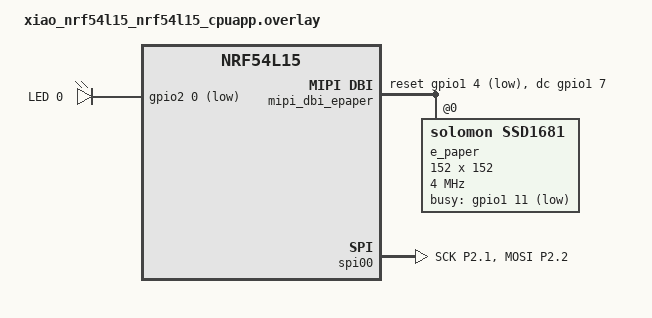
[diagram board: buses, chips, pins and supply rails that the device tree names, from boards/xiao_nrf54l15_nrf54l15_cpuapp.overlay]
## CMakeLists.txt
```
# SPDX-License-Identifier: Apache-2.0
cmake_minimum_required(VERSION 3.20.0)

# Handle RELEASE build option
# Default is debug build
# Use environment variable: RELEASE=1 west build ... for release build
set(RELEASE OFF CACHE BOOL "Enable release build")

# Check environment variable first (works with sysbuild)
if(DEFINED ENV{RELEASE} AND "$ENV{RELEASE}" STREQUAL "1")
    set(RELEASE ON)
endif()

if(RELEASE)
    message(STATUS "=== Release build enabled ===")
    set(EXTRA_CONF_FILE "release.conf" CACHE STRING "Extra config file" FORCE)
    set(BUILD_EXTRAVERSION "rc")
else()
    message(STATUS "=== Debug build enabled (default) ===")
    set(EXTRA_CONF_FILE "debug.conf" CACHE STRING "Extra config file" FORCE)
    set(BUILD_EXTRAVERSION "debug")
endif()

# Update VERSION file with correct EXTRAVERSION
file(READ "${CMAKE_CURRENT_SOURCE_DIR}/VERSION" VERSION_CONTENT)
string(REGEX REPLACE "EXTRAVERSION = [^\n]*" "EXTRAVERSION = ${BUILD_EXTRAVERSION}" VERSION_CONTENT "${VERSION_CONTENT}")
file(WRITE "${CMAKE_CURRENT_SOURCE_DIR}/VERSION" "${VERSION_CONTENT}")

if(SYSBUILD)
    list(APPEND EXTRA_CONF_FILE "prj_sysbuild.conf")
endif()

find_package(Zephyr REQUIRED HINTS $ENV{ZEPHYR_BASE})

project(the_tag)

include_directories("include")

file(GLOB_RECURSE SRC_FILES CONFIGURE_DEPENDS
    ${CMAKE_CURRENT_SOURCE_DIR}/src/*.c
)

target_sources(app PRIVATE ${SRC_FILES})
```

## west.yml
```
manifest:
  version: "1.0"
  defaults:
    remote: the-tag
    revision: main

  self:
    path: the-tag
    west-commands: scritps/west-commands.yml

  remotes:
    - name: the-tag
      url-base: https://github.com/bluleap-ai/the-tag
    - name: zephyrproject-rtos
      url-base: https://github.com/zephyrproject-rtos

  projects:
    - name: zephyr
      remote: zephyrproject-rtos
      revision: main
      import:
        name-allowlist:
          - cmsis
          - cmsis_6
          - hal_nordic
          - nrfx
          - mbedtls
          - tinycrypt
          - picolibc
          - mcumgr
          - zcbor
          - segger
          - stream_flash

    - name: mcuboot_blueleap
      path: bootloader/mcuboot
      url: git@github.com:bluleap-ai/mcuboot-etag.git
      revision: main
```

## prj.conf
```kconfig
CONFIG_SPI=y
CONFIG_DISPLAY=y
CONFIG_SSD16XX=n
CONFIG_LOG=y
CONFIG_BT=y
CONFIG_BT_PERIPHERAL=y
CONFIG_BT_BROADCASTER=y
CONFIG_BT_DEVICE_NAME="the-tag"
# CONFIG_BT_DEVICE_NAME_DYNAMIC=y
CONFIG_BT_SMP=y
CONFIG_BT_BONDABLE=y

CONFIG_SETTINGS=y
CONFIG_BT_SETTINGS=y

# Required for manual driver
CONFIG_GPIO=y
CONFIG_HEAP_MEM_POOL_SIZE=4096
CONFIG_MCUBOOT_EXTRA_IMGTOOL_ARGS="--header-size 0x400"
```

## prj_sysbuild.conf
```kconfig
#OTA
CONFIG_NET_BUF=y
CONFIG_ZCBOR=y
CONFIG_MCUMGR=y
CONFIG_STREAM_FLASH=y
CONFIG_FLASH_MAP=y
CONFIG_BOOTLOADER_MCUBOOT=y
CONFIG_FLASH=y
CONFIG_IMG_MANAGER=y
CONFIG_MCUMGR_GRP_IMG=y
CONFIG_MCUMGR_GRP_OS=y
CONFIG_MCUMGR_TRANSPORT_NETBUF_SIZE=517
CONFIG_INIT_ARCH_HW_AT_BOOT=n
```

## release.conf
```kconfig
# Release build configuration
```

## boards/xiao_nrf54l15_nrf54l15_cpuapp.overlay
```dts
&pinctrl {
	spi00_default: spi00_default {
		group1 {
			psels = <NRF_PSEL(SPIM_SCK, 2, 1)>,
				<NRF_PSEL(SPIM_MOSI, 2, 2)>;
		};
	};

	spi00_sleep: spi00_sleep {
		group1 {
			psels = <NRF_PSEL(SPIM_SCK, 2, 1)>,
				<NRF_PSEL(SPIM_MOSI, 2, 2)>;
			low-power-enable;
		};
	};
};

&spi00 {
	status = "okay";
	pinctrl-0 = <&spi00_default>;
	pinctrl-1 = <&spi00_sleep>;
	pinctrl-names = "default", "sleep";

	cs-gpios = <&gpio1 5 GPIO_ACTIVE_LOW>; /* D1 -> P1.05 */
};

/ {
	chosen {
		zephyr,display = &e_paper;
	};

	leds {
		compatible = "gpio-leds";

		led0: led_0 {
			gpios = <&gpio2 0 GPIO_ACTIVE_LOW>;
			label = "LED 0";
		};
	};

	aliases {
		led0 = &led0;
	};

	mipi_dbi_epaper: mipi-dbi-epaper {
		compatible = "zephyr,mipi-dbi-spi";
		spi-dev = <&spi00>;
		dc-gpios = <&gpio1 7 GPIO_ACTIVE_HIGH>;    /* D3 -> P1.07 */
		reset-gpios = <&gpio1 4 GPIO_ACTIVE_LOW>;  /* D0 -> P1.04 */
		#address-cells = <1>;
		#size-cells = <0>;


		e_paper: ssd16xx@0 {
			compatible = "solomon,ssd1681";
			reg = <0>;
			mipi-max-frequency = <4000000>;
			mipi-mode = "MIPI_DBI_MODE_SPI_4WIRE";

			busy-gpios = <&gpio1 11 GPIO_ACTIVE_LOW>; /* D5 -> P1.11 */
			width = <152>;
			height = <152>;
			rotation = <0>;
		};
	};
};
```

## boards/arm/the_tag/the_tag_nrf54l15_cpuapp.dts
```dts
/*
 * SPDX-License-Identifier: Apache-2.0
 */

/dts-v1/;
#include <nordic/nrf54l15_cpuapp.dtsi>

/ {
	model = "The Tag nRF54L15 Application MCU";
	compatible = "custom,the-tag-nrf54l15-cpuapp";

	chosen {
		zephyr,console = &uart20;
		zephyr,shell-uart = &uart20;
		zephyr,uart-mcumgr = &uart20;
		zephyr,bt-mon-uart = &uart20;
		zephyr,bt-c2h-uart = &uart20;
		zephyr,code-partition = &slot0_partition;
		zephyr,flash-controller = &rram_controller;
		zephyr,flash = &cpuapp_rram;
		zephyr,sram = &cpuapp_sram;
		zephyr,ieee802154 = &ieee802154;
	};
};

&pinctrl {
	/omit-if-no-ref/ uart20_default: uart20_default {
		group1 {
			psels = <NRF_PSEL(UART_TX, 2, 8)>,
				<NRF_PSEL(UART_RX, 2, 7)>;
			bias-pull-up;
		};
	};

	/omit-if-no-ref/ uart20_sleep: uart20_sleep {
		group1 {
			psels = <NRF_PSEL(UART_TX, 2, 8)>,
				<NRF_PSEL(UART_RX, 2, 7)>;
			low-power-enable;
		};
	};
};

&cpuapp_rram {
	partitions {
		compatible = "fixed-partitions";
		#address-cells = <1>;
		#size-cells = <1>;

		boot_partition: partition@0 {
			label = "mcuboot";
			reg = <0x0 DT_SIZE_K(64)>;
		};

		slot0_partition: partition@10000 {
			label = "image-0";
			reg = <0x10000 DT_SIZE_K(324)>;
		};

		slot0_ns_partition: partition@61000 {
			label = "image-0-nonsecure";
			reg = <0x61000 DT_SIZE_K(324)>;
		};

		slot1_partition: partition@b2000 {
			label = "image-1";
			reg = <0xb2000 DT_SIZE_K(324)>;
		};

		slot1_ns_partition: partition@103000 {
			label = "image-1-nonsecure";
			reg = <0x103000 DT_SIZE_K(324)>;
		};

		/* 32k from 0x154000 to 0x15bfff reserved for TF-M partitions */
		storage_partition: partition@15c000 {
			label = "storage";
			reg = <0x15c000 DT_SIZE_K(36)>;
		};
	};
};

&cpuapp_sram {
	status = "okay";
};

&lfxo {
	load-capacitors = "internal";
	load-capacitance-femtofarad = <15500>;
};

&hfxo {
	load-capacitors = "internal";
	load-capacitance-femtofarad = <15000>;
};

&regulators {
	status = "okay";
};

&vregmain {
	status = "okay";
	regulator-initial-mode = <NRF5X_REG_MODE_DCDC>;
};

&grtc {
	owned-channels = <0 1 2 3 4 5 6 7 8 9 10 11>;
	child-owned-channels = <3 4 7 8 9 10 11>;
	status = "okay";
};

&uart20 {
	status = "okay";
	pinctrl-0 = <&uart20_default>;
	pinctrl-1 = <&uart20_sleep>;
	pinctrl-names = "default", "sleep";
	current-speed = <115200>;
};

&gpio0 {
	status = "okay";
};

&gpio1 {
	status = "okay";
};

&gpio2 {
	status = "okay";
};

&gpiote20 {
	status = "okay";
};

&gpiote30 {
	status = "okay";
};

&radio {
	status = "okay";
};

&ieee802154 {
	status = "okay";
};

&temp {
	status = "okay";
};

&clock {
	status = "okay";
};
```

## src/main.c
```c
/*
 * Copyright (c) 2024 Kelvin
 * SPDX-License-Identifier: Apache-2.0
 */

#include <zephyr/device.h>
#include <zephyr/drivers/spi.h>
#include <zephyr/drivers/gpio.h>
#include <zephyr/kernel.h>
#include <zephyr/logging/log.h>
#include <string.h>
#include <zephyr/bluetooth/bluetooth.h>
#include <zephyr/bluetooth/hci.h>

static const struct bt_data ad[] = {
    BT_DATA_BYTES(BT_DATA_FLAGS, (BT_LE_AD_GENERAL | BT_LE_AD_NO_BREDR)),
    BT_DATA(BT_DATA_NAME_COMPLETE, CONFIG_BT_DEVICE_NAME,
            sizeof(CONFIG_BT_DEVICE_NAME) - 1),
};

// Include converted image
#include "image_boaviet.h"

LOG_MODULE_REGISTER(main, CONFIG_LOG_DEFAULT_LEVEL);

/* Display Resolution */
#define EPD_WIDTH 152
#define EPD_HEIGHT 152
#define BUFFER_SIZE (EPD_WIDTH * EPD_HEIGHT / 4)  // 5776 bytes

/* GPIO pins */
#define DC_NODE    DT_NODELABEL(gpio1)
#define RESET_NODE DT_NODELABEL(gpio1)
#define BUSY_NODE  DT_NODELABEL(gpio1)
#define CS_NODE    DT_NODELABEL(gpio1)

#define DC_PIN     7   // P1.07 (D3)
#define RESET_PIN  4   // P1.04 (D0)
#define BUSY_PIN   11  // P1.11 (D5)
#define CS_PIN     5   // P1.05 (D1)

/* LED */
#define LED0_NODE DT_ALIAS(led0)

static struct gpio_dt_spec dc_gpio;
static struct gpio_dt_spec reset_gpio;
static struct gpio_dt_spec busy_gpio;
static struct gpio_dt_spec cs_gpio;
static struct gpio_dt_spec led = GPIO_DT_SPEC_GET(LED0_NODE, gpios);

static const struct device *spi_dev;
static struct spi_config spi_cfg;

static uint8_t frame_buffer[BUFFER_SIZE];

/* Helper functions */
static void jd79661_write_cmd(uint8_t cmd)
{
    struct spi_buf tx_buf = {.buf = &cmd, .len = 1};
    struct spi_buf_set tx_bufs = {.buffers = &tx_buf, .count = 1};
    
    gpio_pin_set_dt(&cs_gpio, 1);  // CS active (low)
    gpio_pin_set_dt(&dc_gpio, 0);  // Command mode
    spi_write(spi_dev, &spi_cfg, &tx_bufs);
    gpio_pin_set_dt(&cs_gpio, 0);  // CS inactive (high)
}

static void jd79661_write_data(uint8_t data)
{
    struct spi_buf tx_buf = {.buf = &data, .len = 1};
    struct spi_buf_set tx_bufs = {.buffers = &tx_buf, .count = 1};
    
    gpio_pin_set_dt(&cs_gpio, 1);  // CS active (low)
    gpio_pin_set_dt(&dc_gpio, 1);  // Data mode
    spi_write(spi_dev, &spi_cfg, &tx_bufs);
    gpio_pin_set_dt(&cs_gpio, 0);  // CS inactive (high)
}

static void jd79661_write_data_bulk(const uint8_t *data, size_t len)
{
    gpio_pin_set_dt(&cs_gpio, 1);  // CS active (low)
    gpio_pin_set_dt(&dc_gpio, 1);  // Data mode
    
    // Write in chunks
    const size_t chunk_size = 256;
    for (size_t i = 0; i < len; i += chunk_size) {
        size_t remaining = len - i;
        size_t write_len = (remaining < chunk_size) ? remaining : chunk_size;
        
        struct spi_buf tx_buf = {.buf = (void *)(data + i), .len = write_len};
        struct spi_buf_set tx_bufs = {.buffers = &tx_buf, .count = 1};
        spi_write(spi_dev, &spi_cfg, &tx_bufs);
    }
    
    gpio_pin_set_dt(&cs_gpio, 0);  // CS inactive (high)
}

static void jd79661_wait_busy(void)
{
    int cnt = 0;
    /* BUSY=0 means busy, BUSY=1 means idle */
    LOG_INF("Waiting for busy (initial: %d)...", gpio_pin_get_dt(&busy_gpio));
    while (gpio_pin_get_dt(&busy_gpio) == 0) {
        k_msleep(10);
        cnt++;
        if (cnt > 500) { // 5s timeout
            LOG_ERR("Busy timeout!");
            break;
        }
    }
    LOG_INF("Busy released");
}

static void jd79661_reset(void)
{
    k_msleep(20);
    gpio_pin_set_dt(&reset_gpio, 0);  // Reset low
    k_msleep(40);
    gpio_pin_set_dt(&reset_gpio, 1);  // Reset high
    k_msleep(50);
}

static int jd79661_init(void)
{
    LOG_INF("Initializing JD79661...");
    
    jd79661_reset();
    jd79661_wait_busy();
    
    // Initialization sequence from STM32 sample code
    jd79661_write_cmd(0x4D);
    jd79661_write_data(0x78);
    k_usleep(100);
    
    jd79661_write_cmd(0x00);  // PSR
    jd79661_write_data(0x0F);
    jd79661_write_data(0x29);
    k_usleep(100);
    
    jd79661_write_cmd(0x01);  // PWRR
    jd79661_write_data(0x07);
    jd79661_write_data(0x00);
    k_usleep(100);
    
    jd79661_write_cmd(0x03);  // POFS
    jd79661_write_data(0x10);
    jd79661_write_data(0x54);
    jd79661_write_data(0x44);
    k_usleep(100);
    
    jd79661_write_cmd(0x06);  // BTST_P
    jd79661_write_data(0x05);
    jd79661_write_data(0x00);
    jd79661_write_data(0x3F);
    jd79661_write_data(0x0A);
    jd79661_write_data(0x25);
    jd79661_write_data(0x12);
    jd79661_write_data(0x1A);
    k_usleep(100);
    
    jd79661_write_cmd(0x50);  // CDI
    jd79661_write_data(0x37);
    k_usleep(100);
    
    jd79661_write_cmd(0x60);  // TCON
    jd79661_write_data(0x02);
    jd79661_write_data(0x02);
    k_usleep(100);
    
    jd79661_write_cmd(0x61);  // TRES
    jd79661_write_data(EPD_WIDTH / 256);
    jd79661_write_data(EPD_WIDTH % 256);
    jd79661_write_data(EPD_HEIGHT / 256);
    jd79661_write_data(EPD_HEIGHT % 256);
    k_usleep(100);
    
    jd79661_write_cmd(0xE7);
    jd79661_write_data(0x1C);
    k_usleep(100);
    
    jd79661_write_cmd(0xE3);
    jd79661_write_data(0x22);
    k_usleep(100);
    
    jd79661_write_cmd(0xB4);
    jd79661_write_data(0xD0);
    k_usleep(100);
    
    jd79661_write_cmd(0xB5);
    jd79661_write_data(0x03);
    k_usleep(100);
    
    jd79661_write_cmd(0xE9);
    jd79661_write_data(0x01);
    k_usleep(100);
    
    jd79661_write_cmd(0x30);
    jd79661_write_data(0x08);
    k_usleep(100);
    
    jd79661_write_cmd(0x04);  // Power on
    jd79661_wait_busy();
    
    LOG_INF("JD79661 initialized");
    return 0;
}

static void jd79661_display_frame(const uint8_t *buffer, size_t size)
{
    LOG_INF("Sending framebuffer (%d bytes)...", size);
    
    jd79661_write_cmd(0x10);  // Write data
    jd79661_write_data_bulk(buffer, size);
    
    LOG_INF("Refreshing display...");
    jd79661_write_cmd(0x12);  // Display refresh
    jd79661_write_data(0x00);
    jd79661_wait_busy();
    
    LOG_INF("Display update complete");
}

int main(void)
{
    int ret;
    
    LOG_INF("=== JD79661 E-Paper Test ===");
    
    ret = bt_enable(NULL);
    if (ret) {
        printk("Bluetooth init failed (ret %d)\n", ret);
        return 0;
    }

    printk("Bluetooth initialized\n");

    ret = bt_le_adv_start(BT_LE_ADV_CONN_FAST_2, ad, ARRAY_SIZE(ad), NULL, 0);
    if (ret) {
        printk("Advertising failed to start (ret %d)\n", ret);
        return 0;
    }

    printk("Advertising started\n");

    /* LED Init */
    if (!gpio_is_ready_dt(&led)) {
        LOG_ERR("LED GPIO not ready");
        return -ENODEV;
    }
    gpio_pin_configure_dt(&led, GPIO_OUTPUT_ACTIVE);
    
    /* SPI Init */
    spi_dev = DEVICE_DT_GET(DT_NODELABEL(spi00));
    if (!device_is_ready(spi_dev)) {
        LOG_ERR("SPI device not ready");
        return -ENODEV;
    }
    
    spi_cfg.frequency = 4000000;  // 4 MHz
    spi_cfg.operation = SPI_WORD_SET(8) | SPI_TRANSFER_MSB | SPI_OP_MODE_MASTER;
    spi_cfg.slave = 0;
    spi_cfg.cs = (struct spi_cs_control) {
        .gpio = {0},  // No auto CS
        .delay = 0,
    };
    
    /* GPIO Init */
    dc_gpio.port = DEVICE_DT_GET(DC_NODE);
    dc_gpio.pin = DC_PIN;
    dc_gpio.dt_flags = GPIO_ACTIVE_HIGH;
    
    reset_gpio.port = DEVICE_DT_GET(RESET_NODE);
    reset_gpio.pin = RESET_PIN;
    reset_gpio.dt_flags = GPIO_ACTIVE_HIGH;
    
    busy_gpio.port = DEVICE_DT_GET(BUSY_NODE);
    busy_gpio.pin = BUSY_PIN;
    busy_gpio.dt_flags = GPIO_ACTIVE_HIGH;
    
    cs_gpio.port = DEVICE_DT_GET(CS_NODE);
    cs_gpio.pin = CS_PIN;
    cs_gpio.dt_flags = GPIO_ACTIVE_LOW;
    
    if (!device_is_ready(dc_gpio.port)) {
        LOG_ERR("GPIO not ready");
        return -ENODEV;
    }
    
    ret = gpio_pin_configure_dt(&dc_gpio, GPIO_OUTPUT_INACTIVE);
    ret |= gpio_pin_configure_dt(&reset_gpio, GPIO_OUTPUT_ACTIVE);
    ret |= gpio_pin_configure_dt(&busy_gpio, GPIO_INPUT);
    ret |= gpio_pin_configure_dt(&cs_gpio, GPIO_OUTPUT_INACTIVE);
    
    if (ret < 0) {
        LOG_ERR("Failed to configure GPIO: %d", ret);
        return ret;
    }
    
    LOG_INF("GPIO configured");
    
    /* Initialize Display */
    ret = jd79661_init();
    if (ret < 0) {
        LOG_ERR("Failed to init display");
        return ret;
    }
    
    /* Display image */
    LOG_INF("Loading image (5776 bytes)...");
    memcpy(frame_buffer, image_image_boaviet, BUFFER_SIZE);
    
    LOG_INF("Displaying image...");
    jd79661_display_frame(frame_buffer, sizeof(frame_buffer));
    
    LOG_INF("Image displayed! Done.");
    
    // Just blink LED, don't update display anymore
    while (1) {
        gpio_pin_toggle_dt(&led);
        k_sleep(K_SECONDS(1));
    }
    
    return 0;
}
```

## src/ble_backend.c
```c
#include <zephyr/kernel.h>
#include <zephyr/bluetooth/gatt.h>
#include <zephyr/bluetooth/hci.h>
#include <zephyr/logging/log.h>
#include <zephyr/logging/log_backend_ble.h>
#include <zephyr/settings/settings.h>

LOG_MODULE_REGISTER(ble_backend);

static const struct bt_data ad[] = {
	BT_DATA_BYTES(BT_DATA_FLAGS, (BT_LE_AD_GENERAL | BT_LE_AD_NO_BREDR)),
	BT_DATA_BYTES(BT_DATA_UUID128_ALL, LOGGER_BACKEND_BLE_ADV_UUID_DATA)
};

static const struct bt_data sd[] = {
	BT_DATA(BT_DATA_NAME_COMPLETE, CONFIG_BT_DEVICE_NAME, sizeof(CONFIG_BT_DEVICE_NAME) - 1),
};

static void start_adv(void)
{
	int err;

	err = bt_le_adv_start(BT_LE_ADV_CONN_FAST_1, ad, ARRAY_SIZE(ad), sd, ARRAY_SIZE(sd));
	if (err) {
		LOG_ERR("Advertising failed to start (err %d)", err);
		return;
	}

	LOG_INF("Advertising successfully started");
}

static void connected(struct bt_conn *conn, uint8_t err)
{
	if (err) {
		LOG_ERR("Connection failed, err 0x%02x %s", err, bt_hci_err_to_str(err));
	} else {
		LOG_INF("Connected");
	}
}

static void disconnected(struct bt_conn *conn, uint8_t reason)
{
	LOG_INF("Disconnected, reason 0x%02x %s", reason, bt_hci_err_to_str(reason));
	start_adv();
}

BT_CONN_CB_DEFINE(conn_callbacks) = {
	.connected = connected,
	.disconnected = disconnected,
};

static void auth_cancel(struct bt_conn *conn)
{
	char addr[BT_ADDR_LE_STR_LEN];

	bt_addr_le_to_str(bt_conn_get_dst(conn), addr, sizeof(addr));

	LOG_INF("Pairing cancelled: %s", addr);
}

static struct bt_conn_auth_cb auth_cb_display = {
	.cancel = auth_cancel,
};

void backend_ble_hook(bool status, void *ctx)
{
	ARG_UNUSED(ctx);

	if (status) {
		LOG_INF("Bluetooth Logger Backend enabled.");
	} else {
		LOG_INF("Bluetooth Logger Backend disabled.");
	}
}

void ble_backend_init(void)
{
	int err;

	LOG_INF("Bluetooth LOG Demo");
	// logger_backend_ble_set_hook(backend_ble_hook, NULL);
	err = bt_enable(NULL);
	if (err) {
		LOG_ERR("Bluetooth init failed (err %d)", err);
		return;
	}
	
	settings_load();
	
	bt_conn_auth_cb_register(&auth_cb_display);

	start_adv();
}
```

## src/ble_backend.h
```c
void ble_backend_init(void);
```

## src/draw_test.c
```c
#include <zephyr/kernel.h>
#include <zephyr/device.h>
#include <zephyr/drivers/spi.h>
#include <zephyr/drivers/gpio.h>
#include <zephyr/logging/log.h>
#include "jd79661_driver.h"
#include <string.h>

LOG_MODULE_REGISTER(main, LOG_LEVEL_INF);

// GPIO pins from overlay
#define DC_NODE    DT_NODELABEL(gpio1)
#define RESET_NODE DT_NODELABEL(gpio1)
#define BUSY_NODE  DT_NODELABEL(gpio1)
#define CS_NODE    DT_NODELABEL(gpio1)

#define DC_PIN     7   // P1.07 (D3)
#define RESET_PIN  4   // P1.04 (D0)
#define BUSY_PIN   11  // P1.11 (D5)
#define CS_PIN     5   // P1.05 (D1)

static struct jd79661_device epd_dev;
static uint8_t framebuffer[ALLSCREEN_BYTES];

// Helper function to set pixel (x, y) with color
// Color: 0=black, 1=white, 2=yellow, 3=red
static void set_pixel(uint8_t *buffer, int x, int y, uint8_t color)
{
    if (x < 0 || x >= EPD_WIDTH || y < 0 || y >= EPD_HEIGHT) {
        return;
    }
    
    // Each byte contains 4 pixels (2 bits each)
    int byte_index = (y * EPD_WIDTH + x) / 4;
    int pixel_pos = (y * EPD_WIDTH + x) % 4;  // 0, 1, 2, or 3
    int bit_shift = (3 - pixel_pos) * 2;  // 6, 4, 2, or 0
    
    // Clear the 2 bits for this pixel
    buffer[byte_index] &= ~(0x03 << bit_shift);
    // Set the new color
    buffer[byte_index] |= (color & 0x03) << bit_shift;
}

// Draw a filled rectangle
static void draw_rect(uint8_t *buffer, int x, int y, int w, int h, uint8_t color)
{
    for (int j = y; j < y + h; j++) {
        for (int i = x; i < x + w; i++) {
            set_pixel(buffer, i, j, color);
        }
    }
}

// Draw a line (simple Bresenham algorithm)
static void draw_line(uint8_t *buffer, int x0, int y0, int x1, int y1, uint8_t color)
{
    int dx = abs(x1 - x0);
    int dy = abs(y1 - y0);
    int sx = (x0 < x1) ? 1 : -1;
    int sy = (y0 < y1) ? 1 : -1;
    int err = dx - dy;
    
    while (1) {
        set_pixel(buffer, x0, y0, color);
        
        if (x0 == x1 && y0 == y1) break;
        
        int e2 = 2 * err;
        if (e2 > -dy) {
            err -= dy;
            x0 += sx;
        }
        if (e2 < dx) {
            err += dx;
            y0 += sy;
        }
    }
}

// Draw a circle (Midpoint circle algorithm)
static void draw_circle(uint8_t *buffer, int cx, int cy, int radius, uint8_t color)
{
    int x = radius;
    int y = 0;
    int err = 0;
    
    while (x >= y) {
        set_pixel(buffer, cx + x, cy + y, color);
        set_pixel(buffer, cx + y, cy + x, color);
        set_pixel(buffer, cx - y, cy + x, color);
        set_pixel(buffer, cx - x, cy + y, color);
        set_pixel(buffer, cx - x, cy - y, color);
        set_pixel(buffer, cx - y, cy - x, color);
        set_pixel(buffer, cx + y, cy - x, color);
        set_pixel(buffer, cx + x, cy - y, color);
        
        if (err <= 0) {
            y += 1;
            err += 2*y + 1;
        }
        if (err > 0) {
            x -= 1;
            err -= 2*x + 1;
        }
    }
}

int main(void)
{
    int ret;
    
    LOG_INF("=== JD79661 Drawing Test ===");
    
    // Get SPI device
    epd_dev.spi_dev = DEVICE_DT_GET(DT_NODELABEL(spi00));
    if (!device_is_ready(epd_dev.spi_dev)) {
        LOG_ERR("SPI device not ready");
        return -1;
    }
    
    // Configure SPI (no auto CS control)
    epd_dev.spi_cfg.frequency = 4000000;  // 4 MHz
    epd_dev.spi_cfg.operation = SPI_WORD_SET(8) | SPI_TRANSFER_MSB | SPI_OP_MODE_MASTER;
    epd_dev.spi_cfg.slave = 0;
    epd_dev.spi_cfg.cs = (struct spi_cs_control) {
        .gpio = {0},  // No auto CS
        .delay = 0,
    };
    
    // Setup GPIO pins
    epd_dev.dc_gpio.port = DEVICE_DT_GET(DC_NODE);
    epd_dev.dc_gpio.pin = DC_PIN;
    epd_dev.dc_gpio.dt_flags = GPIO_ACTIVE_HIGH;
    
    epd_dev.reset_gpio.port = DEVICE_DT_GET(RESET_NODE);
    epd_dev.reset_gpio.pin = RESET_PIN;
    epd_dev.reset_gpio.dt_flags = GPIO_ACTIVE_HIGH;
    
    epd_dev.busy_gpio.port = DEVICE_DT_GET(BUSY_NODE);
    epd_dev.busy_gpio.pin = BUSY_PIN;
    epd_dev.busy_gpio.dt_flags = GPIO_ACTIVE_HIGH;
    
    epd_dev.cs_gpio.port = DEVICE_DT_GET(CS_NODE);
    epd_dev.cs_gpio.pin = CS_PIN;
    epd_dev.cs_gpio.dt_flags = GPIO_ACTIVE_LOW;
    
    // Configure GPIO pins
    if (!device_is_ready(epd_dev.dc_gpio.port)) {
        LOG_ERR("DC GPIO not ready");
        return -1;
    }
    
    ret = gpio_pin_configure_dt(&epd_dev.dc_gpio, GPIO_OUTPUT_INACTIVE);
    if (ret < 0) {
        LOG_ERR("Failed to configure DC pin: %d", ret);
        return ret;
    }
    
    ret = gpio_pin_configure_dt(&epd_dev.reset_gpio, GPIO_OUTPUT_ACTIVE);
    if (ret < 0) {
        LOG_ERR("Failed to configure RESET pin: %d", ret);
        return ret;
    }
    
    ret = gpio_pin_configure_dt(&epd_dev.busy_gpio, GPIO_INPUT);
    if (ret < 0) {
        LOG_ERR("Failed to configure BUSY pin: %d", ret);
        return ret;
    }
    
    ret = gpio_pin_configure_dt(&epd_dev.cs_gpio, GPIO_OUTPUT_INACTIVE);
    if (ret < 0) {
        LOG_ERR("Failed to configure CS pin: %d", ret);
        return ret;
    }
    
    LOG_INF("GPIO pins configured");
    
    // Initialize display
    LOG_INF("Initializing display...");
    ret = jd79661_init(&epd_dev);
    if (ret < 0) {
        LOG_ERR("Failed to initialize display: %d", ret);
        return ret;
    }
    
    LOG_INF("Display initialized successfully");
    
    // Clear framebuffer to white
    memset(framebuffer, 0x55, ALLSCREEN_BYTES);  // 0x55 = white
    
    // Draw some shapes
    LOG_INF("Drawing shapes...");
    
    // Draw black border
    draw_rect(framebuffer, 0, 0, EPD_WIDTH, 2, COLOR_BLACK);  // Top
    draw_rect(framebuffer, 0, EPD_HEIGHT-2, EPD_WIDTH, 2, COLOR_BLACK);  // Bottom
    draw_rect(framebuffer, 0, 0, 2, EPD_HEIGHT, COLOR_BLACK);  // Left
    draw_rect(framebuffer, EPD_WIDTH-2, 0, 2, EPD_HEIGHT, COLOR_BLACK);  // Right
    
    // Draw red rectangle
    draw_rect(framebuffer, 20, 20, 40, 30, COLOR_RED);
    
    // Draw yellow rectangle
    draw_rect(framebuffer, 70, 20, 40, 30, COLOR_YELLOW);
    
    // Draw black circle
    draw_circle(framebuffer, 76, 90, 20, COLOR_BLACK);
    
    // Draw red circle
    draw_circle(framebuffer, 40, 90, 15, COLOR_RED);
    
    // Draw yellow circle
    draw_circle(framebuffer, 110, 90, 15, COLOR_YELLOW);
    
    // Draw diagonal lines
    draw_line(framebuffer, 10, 120, 50, 140, COLOR_BLACK);
    draw_line(framebuffer, 60, 120, 100, 140, COLOR_RED);
    draw_line(framebuffer, 110, 120, 140, 140, COLOR_YELLOW);
    
    LOG_INF("Displaying framebuffer...");
    jd79661_display_buffer(&epd_dev, framebuffer);
    
    LOG_INF("Drawing complete! Check the display.");
    
    return 0;
}
```

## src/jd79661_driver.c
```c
#include "jd79661_driver.h"
#include <zephyr/logging/log.h>

LOG_MODULE_REGISTER(jd79661, LOG_LEVEL_INF);

// Helper functions
static void jd79661_write_cmd(struct jd79661_device *dev, uint8_t cmd)
{
    struct spi_buf tx_buf = {.buf = &cmd, .len = 1};
    struct spi_buf_set tx_bufs = {.buffers = &tx_buf, .count = 1};
    
    gpio_pin_set_dt(&dev->cs_gpio, 1);  // CS active (low)
    gpio_pin_set_dt(&dev->dc_gpio, 0);  // Command mode
    spi_write(dev->spi_dev, &dev->spi_cfg, &tx_bufs);
    gpio_pin_set_dt(&dev->cs_gpio, 0);  // CS inactive (high)
}

static void jd79661_write_data(struct jd79661_device *dev, uint8_t data)
{
    struct spi_buf tx_buf = {.buf = &data, .len = 1};
    struct spi_buf_set tx_bufs = {.buffers = &tx_buf, .count = 1};
    
    gpio_pin_set_dt(&dev->cs_gpio, 1);  // CS active (low)
    gpio_pin_set_dt(&dev->dc_gpio, 1);  // Data mode
    spi_write(dev->spi_dev, &dev->spi_cfg, &tx_bufs);
    gpio_pin_set_dt(&dev->cs_gpio, 0);  // CS inactive (high)
}

static void jd79661_write_data_bulk(struct jd79661_device *dev, const uint8_t *data, size_t len)
{
    gpio_pin_set_dt(&dev->cs_gpio, 1);  // CS active (low)
    gpio_pin_set_dt(&dev->dc_gpio, 1);  // Data mode
    
    // Write in chunks to avoid timeout
    const size_t chunk_size = 256;
    for (size_t i = 0; i < len; i += chunk_size) {
        size_t remaining = len - i;
        size_t write_len = (remaining < chunk_size) ? remaining : chunk_size;
        
        struct spi_buf tx_buf = {.buf = (void *)(data + i), .len = write_len};
        struct spi_buf_set tx_bufs = {.buffers = &tx_buf, .count = 1};
        spi_write(dev->spi_dev, &dev->spi_cfg, &tx_bufs);
    }
    
    gpio_pin_set_dt(&dev->cs_gpio, 0);  // CS inactive (high)
}

static void jd79661_wait_busy(struct jd79661_device *dev)
{
    // BUSY=0 means busy, BUSY=1 means idle
    int timeout = 5000;  // 5 seconds timeout
    int busy_val = gpio_pin_get_dt(&dev->busy_gpio);
    
    LOG_INF("Waiting for BUSY (initial value: %d)", busy_val);
    
    while (gpio_pin_get_dt(&dev->busy_gpio) == 0 && timeout > 0) {
        k_msleep(10);
        timeout -= 10;
    }
    
    if (timeout <= 0) {
        LOG_ERR("Timeout waiting for BUSY pin (still 0)");
    } else {
        LOG_INF("BUSY pin ready (value: 1)");
    }
}

int jd79661_init(struct jd79661_device *dev)
{
    LOG_INF("Initializing JD79661 display");
    
    // Reset sequence
    k_msleep(20);  // At least 20ms delay
    gpio_pin_set_dt(&dev->reset_gpio, 0);  // Reset low
    k_msleep(40);  // At least 40ms delay
    gpio_pin_set_dt(&dev->reset_gpio, 1);  // Reset high
    k_msleep(50);  // At least 50ms delay
    
    jd79661_wait_busy(dev);
    
    // Initialization sequence from STM32 sample code
    jd79661_write_cmd(dev, 0x4D);
    jd79661_write_data(dev, 0x78);
    k_usleep(100);
    
    jd79661_write_cmd(dev, 0x00);  // PSR
    jd79661_write_data(dev, 0x0F);
    jd79661_write_data(dev, 0x29);
    k_usleep(100);
    
    jd79661_write_cmd(dev, 0x01);  // PWRR
    jd79661_write_data(dev, 0x07);
    jd79661_write_data(dev, 0x00);
    k_usleep(100);
    
    jd79661_write_cmd(dev, 0x03);  // POFS
    jd79661_write_data(dev, 0x10);
    jd79661_write_data(dev, 0x54);
    jd79661_write_data(dev, 0x44);
    k_usleep(100);
    
    jd79661_write_cmd(dev, 0x06);  // BTST_P
    jd79661_write_data(dev, 0x05);
    jd79661_write_data(dev, 0x00);
    jd79661_write_data(dev, 0x3F);
    jd79661_write_data(dev, 0x0A);
    jd79661_write_data(dev, 0x25);
    jd79661_write_data(dev, 0x12);
    jd79661_write_data(dev, 0x1A);
    k_usleep(100);
    
    jd79661_write_cmd(dev, 0x50);  // CDI
    jd79661_write_data(dev, 0x37);
    k_usleep(100);
    
    jd79661_write_cmd(dev, 0x60);  // TCON
    jd79661_write_data(dev, 0x02);
    jd79661_write_data(dev, 0x02);
    k_usleep(100);
    
    jd79661_write_cmd(dev, 0x61);  // TRES (resolution)
    jd79661_write_data(dev, EPD_WIDTH / 256);   // Source_BITS_H
    jd79661_write_data(dev, EPD_WIDTH % 256);   // Source_BITS_L
    jd79661_write_data(dev, EPD_HEIGHT / 256);  // Gate_BITS_H
    jd79661_write_data(dev, EPD_HEIGHT % 256);  // Gate_BITS_L
    k_usleep(100);
    
    jd79661_write_cmd(dev, 0xE7);
    jd79661_write_data(dev, 0x1C);
    k_usleep(100);
    
    jd79661_write_cmd(dev, 0xE3);
    jd79661_write_data(dev, 0x22);
    k_usleep(100);
    
    jd79661_write_cmd(dev, 0xB4);
    jd79661_write_data(dev, 0xD0);
    k_usleep(100);
    
    jd79661_write_cmd(dev, 0xB5);
    jd79661_write_data(dev, 0x03);
    k_usleep(100);
    
    jd79661_write_cmd(dev, 0xE9);
    jd79661_write_data(dev, 0x01);
    k_usleep(100);
    
    jd79661_write_cmd(dev, 0x30);
    jd79661_write_data(dev, 0x08);
    k_usleep(100);
    
    jd79661_write_cmd(dev, 0x04);  // Power on
    jd79661_wait_busy(dev);
    
    LOG_INF("JD79661 initialization complete");
    return 0;
}

void jd79661_refresh(struct jd79661_device *dev)
{
    jd79661_write_cmd(dev, 0x12);  // Display Update Control
    jd79661_write_data(dev, 0x00);
    jd79661_wait_busy(dev);
}

void jd79661_sleep(struct jd79661_device *dev)
{
    jd79661_write_cmd(dev, 0x02);  // Power off
    jd79661_wait_busy(dev);
    k_msleep(100);  // At least 100ms delay
    
    jd79661_write_cmd(dev, 0x07);  // Deep sleep
    jd79661_write_data(dev, 0xA5);
}

void jd79661_display_all_black(struct jd79661_device *dev)
{
    LOG_INF("Displaying all black");
    
    jd79661_write_cmd(dev, 0x10);  // Write data
    
    gpio_pin_set_dt(&dev->dc_gpio, 1);  // Data mode
    for (uint32_t i = 0; i < ALLSCREEN_BYTES; i++) {
        jd79661_write_data(dev, 0x00);  // Black = 00
    }
    
    jd79661_refresh(dev);
}

void jd79661_display_all_white(struct jd79661_device *dev)
{
    LOG_INF("Displaying all white");
    
    jd79661_write_cmd(dev, 0x10);  // Write data
    
    for (uint32_t i = 0; i < ALLSCREEN_BYTES; i++) {
        jd79661_write_data(dev, 0x55);  // White = 01 (0x55 = 01010101)
    }
    
    jd79661_refresh(dev);
}

void jd79661_display_all_yellow(struct jd79661_device *dev)
{
    LOG_INF("Displaying all yellow");
    
    jd79661_write_cmd(dev, 0x10);  // Write data
    
    for (uint32_t i = 0; i < ALLSCREEN_BYTES; i++) {
        jd79661_write_data(dev, 0xAA);  // Yellow = 10 (0xAA = 10101010)
    }
    
    jd79661_refresh(dev);
}

void jd79661_display_all_red(struct jd79661_device *dev)
{
    LOG_INF("Displaying all red");
    
    jd79661_write_cmd(dev, 0x10);  // Write data
    
    for (uint32_t i = 0; i < ALLSCREEN_BYTES; i++) {
        jd79661_write_data(dev, 0xFF);  // Red = 11 (0xFF = 11111111)
    }
    
    jd79661_refresh(dev);
}

void jd79661_display_buffer(struct jd79661_device *dev, const uint8_t *buffer)
{
    LOG_INF("Displaying buffer");
    
    jd79661_write_cmd(dev, 0x10);  // Write data
    jd79661_write_data_bulk(dev, buffer, ALLSCREEN_BYTES);
    jd79661_refresh(dev);
}
```

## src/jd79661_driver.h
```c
#ifndef JD79661_DRIVER_H
#define JD79661_DRIVER_H

#include <zephyr/kernel.h>
#include <zephyr/device.h>
#include <zephyr/drivers/spi.h>
#include <zephyr/drivers/gpio.h>

// Display dimensions
#define EPD_WIDTH   152
#define EPD_HEIGHT  152

// 2-bit color encoding
#define COLOR_BLACK   0x00  // 00
#define COLOR_WHITE   0x01  // 01
#define COLOR_YELLOW  0x02  // 10
#define COLOR_RED     0x03  // 11

// Buffer size for 152x152 display with 2-bit per pixel
#define ALLSCREEN_BYTES   (152 * 152 / 4)  // 5776 bytes

// Driver structure
struct jd79661_device {
    const struct device *spi_dev;
    struct spi_config spi_cfg;
    struct gpio_dt_spec dc_gpio;
    struct gpio_dt_spec reset_gpio;
    struct gpio_dt_spec busy_gpio;
    struct gpio_dt_spec cs_gpio;
};

// Function prototypes
int jd79661_init(struct jd79661_device *dev);
void jd79661_sleep(struct jd79661_device *dev);
void jd79661_refresh(struct jd79661_device *dev);
void jd79661_display_all_black(struct jd79661_device *dev);
void jd79661_display_all_white(struct jd79661_device *dev);
void jd79661_display_all_yellow(struct jd79661_device *dev);
void jd79661_display_all_red(struct jd79661_device *dev);
void jd79661_display_buffer(struct jd79661_device *dev, const uint8_t *buffer);

#endif // JD79661_DRIVER_H
```

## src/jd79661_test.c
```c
#include <zephyr/kernel.h>
#include <zephyr/device.h>
#include <zephyr/drivers/spi.h>
#include <zephyr/drivers/gpio.h>
#include <zephyr/logging/log.h>
#include "jd79661_driver.h"

LOG_MODULE_REGISTER(main, LOG_LEVEL_INF);

// GPIO pins from overlay
#define DC_NODE    DT_NODELABEL(gpio1)
#define RESET_NODE DT_NODELABEL(gpio1)
#define BUSY_NODE  DT_NODELABEL(gpio1)
#define CS_NODE    DT_NODELABEL(gpio1)

#define DC_PIN     7   // P1.07 (D3)
#define RESET_PIN  4   // P1.04 (D0)
#define BUSY_PIN   11  // P1.11 (D5)
#define CS_PIN     5   // P1.05 (D1)

static struct jd79661_device epd_dev;

int main(void)
{
    int ret;
    
    LOG_INF("=== JD79661 E-Paper Test ===");
    
    // Get SPI device
    epd_dev.spi_dev = DEVICE_DT_GET(DT_NODELABEL(spi00));
    if (!device_is_ready(epd_dev.spi_dev)) {
        LOG_ERR("SPI device not ready");
        return -1;
    }
    
    // Configure SPI
    epd_dev.spi_cfg.frequency = 4000000;  // 4 MHz
    epd_dev.spi_cfg.operation = SPI_WORD_SET(8) | SPI_TRANSFER_MSB | SPI_OP_MODE_MASTER;
    epd_dev.spi_cfg.slave = 0;
    epd_dev.spi_cfg.cs = (struct spi_cs_control) {
        .gpio = epd_dev.cs_gpio,
        .delay = 0,
    };
    
    // Setup GPIO pins
    epd_dev.dc_gpio.port = DEVICE_DT_GET(DC_NODE);
    epd_dev.dc_gpio.pin = DC_PIN;
    epd_dev.dc_gpio.dt_flags = GPIO_ACTIVE_HIGH;
    
    epd_dev.reset_gpio.port = DEVICE_DT_GET(RESET_NODE);
    epd_dev.reset_gpio.pin = RESET_PIN;
    epd_dev.reset_gpio.dt_flags = GPIO_ACTIVE_HIGH;
    
    epd_dev.busy_gpio.port = DEVICE_DT_GET(BUSY_NODE);
    epd_dev.busy_gpio.pin = BUSY_PIN;
    epd_dev.busy_gpio.dt_flags = GPIO_ACTIVE_HIGH;
    
    epd_dev.cs_gpio.port = DEVICE_DT_GET(CS_NODE);
    epd_dev.cs_gpio.pin = CS_PIN;
    epd_dev.cs_gpio.dt_flags = GPIO_ACTIVE_LOW;
    
    // Configure GPIO pins
    if (!device_is_ready(epd_dev.dc_gpio.port)) {
        LOG_ERR("DC GPIO not ready");
        return -1;
    }
    
    ret = gpio_pin_configure_dt(&epd_dev.dc_gpio, GPIO_OUTPUT_INACTIVE);
    if (ret < 0) {
        LOG_ERR("Failed to configure DC pin: %d", ret);
        return ret;
    }
    
    ret = gpio_pin_configure_dt(&epd_dev.reset_gpio, GPIO_OUTPUT_ACTIVE);
    if (ret < 0) {
        LOG_ERR("Failed to configure RESET pin: %d", ret);
        return ret;
    }
    
    ret = gpio_pin_configure_dt(&epd_dev.busy_gpio, GPIO_INPUT);
    if (ret < 0) {
        LOG_ERR("Failed to configure BUSY pin: %d", ret);
        return ret;
    }
    
    ret = gpio_pin_configure_dt(&epd_dev.cs_gpio, GPIO_OUTPUT_INACTIVE);
    if (ret < 0) {
        LOG_ERR("Failed to configure CS pin: %d", ret);
        return ret;
    }
    
    LOG_INF("GPIO pins configured");
    
    // Initialize display
    ret = jd79661_init(&epd_dev);
    if (ret < 0) {
        LOG_ERR("Failed to initialize display: %d", ret);
        return ret;
    }
    
    LOG_INF("Display initialized successfully");
    
    // Test 1: White screen
    LOG_INF("Test 1: White screen");
    jd79661_display_all_white(&epd_dev);
    k_msleep(3000);
    
    // Test 2: Black screen
    LOG_INF("Test 2: Black screen");
    jd79661_display_all_black(&epd_dev);
    k_msleep(3000);
    
    // Test 3: Yellow screen
    LOG_INF("Test 3: Yellow screen");
    jd79661_display_all_yellow(&epd_dev);
    k_msleep(3000);
    
    // Test 4: Red screen
    LOG_INF("Test 4: Red screen");
    jd79661_display_all_red(&epd_dev);
    k_msleep(3000);
    
    // Test 5: Striped pattern (black/white/yellow/red)
    LOG_INF("Test 5: Striped pattern");
    uint8_t buffer[ALLSCREEN_BYTES];
    for (int i = 0; i < ALLSCREEN_BYTES; i++) {
        // Create pattern: each byte has 4 pixels (2 bits each)
        // 0x1B = 00 01 10 11 = black, white, yellow, red
        buffer[i] = 0x1B;
    }
    jd79661_display_buffer(&epd_dev, buffer);
    k_msleep(3000);
    
    LOG_INF("All tests complete!");
    
    // Sleep mode
    jd79661_sleep(&epd_dev);
    
    return 0;
}
```

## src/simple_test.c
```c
#include <zephyr/kernel.h>
#include <zephyr/device.h>
#include <zephyr/drivers/spi.h>
#include <zephyr/drivers/gpio.h>
#include <zephyr/logging/log.h>
#include "jd79661_driver.h"

LOG_MODULE_REGISTER(main, LOG_LEVEL_INF);

// GPIO pins from overlay
#define DC_NODE    DT_NODELABEL(gpio1)
#define RESET_NODE DT_NODELABEL(gpio1)
#define BUSY_NODE  DT_NODELABEL(gpio1)
#define CS_NODE    DT_NODELABEL(gpio1)

#define DC_PIN     7   // P1.07 (D3)
#define RESET_PIN  4   // P1.04 (D0)
#define BUSY_PIN   11  // P1.11 (D5)
#define CS_PIN     5   // P1.05 (D1)

static struct jd79661_device epd_dev;

int main(void)
{
    int ret;
    
    LOG_INF("=== JD79661 Simple Test ===");
    
    // Get SPI device
    epd_dev.spi_dev = DEVICE_DT_GET(DT_NODELABEL(spi00));
    if (!device_is_ready(epd_dev.spi_dev)) {
        LOG_ERR("SPI device not ready");
        return -1;
    }
    
    // Configure SPI (no auto CS control)
    epd_dev.spi_cfg.frequency = 4000000;  // 4 MHz
    epd_dev.spi_cfg.operation = SPI_WORD_SET(8) | SPI_TRANSFER_MSB | SPI_OP_MODE_MASTER;
    epd_dev.spi_cfg.slave = 0;
    epd_dev.spi_cfg.cs = (struct spi_cs_control) {
        .gpio = {0},  // No auto CS
        .delay = 0,
    };
    
    // Setup GPIO pins
    epd_dev.dc_gpio.port = DEVICE_DT_GET(DC_NODE);
    epd_dev.dc_gpio.pin = DC_PIN;
    epd_dev.dc_gpio.dt_flags = GPIO_ACTIVE_HIGH;
    
    epd_dev.reset_gpio.port = DEVICE_DT_GET(RESET_NODE);
    epd_dev.reset_gpio.pin = RESET_PIN;
    epd_dev.reset_gpio.dt_flags = GPIO_ACTIVE_HIGH;
    
    epd_dev.busy_gpio.port = DEVICE_DT_GET(BUSY_NODE);
    epd_dev.busy_gpio.pin = BUSY_PIN;
    epd_dev.busy_gpio.dt_flags = GPIO_ACTIVE_HIGH;
    
    epd_dev.cs_gpio.port = DEVICE_DT_GET(CS_NODE);
    epd_dev.cs_gpio.pin = CS_PIN;
    epd_dev.cs_gpio.dt_flags = GPIO_ACTIVE_LOW;
    
    // Configure GPIO pins
    if (!device_is_ready(epd_dev.dc_gpio.port)) {
        LOG_ERR("DC GPIO not ready");
        return -1;
    }
    
    ret = gpio_pin_configure_dt(&epd_dev.dc_gpio, GPIO_OUTPUT_INACTIVE);
    if (ret < 0) {
        LOG_ERR("Failed to configure DC pin: %d", ret);
        return ret;
    }
    
    ret = gpio_pin_configure_dt(&epd_dev.reset_gpio, GPIO_OUTPUT_ACTIVE);
    if (ret < 0) {
        LOG_ERR("Failed to configure RESET pin: %d", ret);
        return ret;
    }
    
    ret = gpio_pin_configure_dt(&epd_dev.busy_gpio, GPIO_INPUT);
    if (ret < 0) {
        LOG_ERR("Failed to configure BUSY pin: %d", ret);
        return ret;
    }
    
    ret = gpio_pin_configure_dt(&epd_dev.cs_gpio, GPIO_OUTPUT_INACTIVE);
    if (ret < 0) {
        LOG_ERR("Failed to configure CS pin: %d", ret);
        return ret;
    }
    
    LOG_INF("GPIO pins configured");
    
    // Check BUSY pin before init
    int busy = gpio_pin_get_dt(&epd_dev.busy_gpio);
    LOG_INF("BUSY pin before init: %d", busy);
    
    // Initialize display
    LOG_INF("Initializing display...");
    ret = jd79661_init(&epd_dev);
    if (ret < 0) {
        LOG_ERR("Failed to initialize display: %d", ret);
        return ret;
    }
    
    LOG_INF("Display initialized successfully");
    
    // Test: White screen only
    LOG_INF("Displaying white screen...");
    jd79661_display_all_white(&epd_dev);
    LOG_INF("White screen command sent");
    
    k_msleep(5000);  // Wait 5 seconds
    
    LOG_INF("Test complete! Check the display.");
    
    return 0;
}
```
